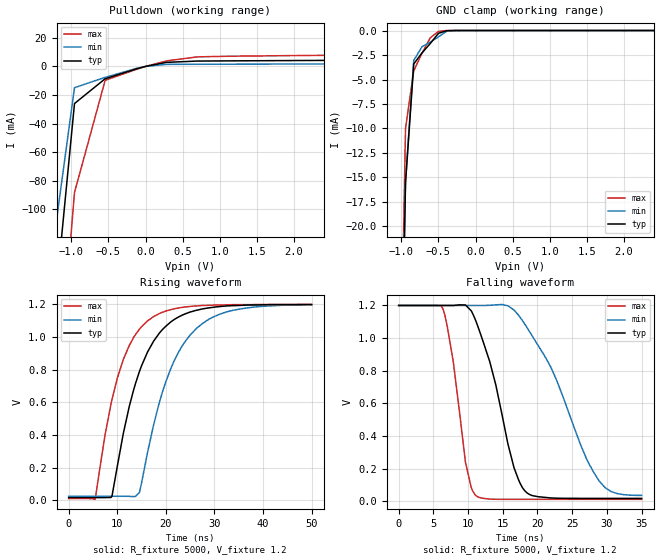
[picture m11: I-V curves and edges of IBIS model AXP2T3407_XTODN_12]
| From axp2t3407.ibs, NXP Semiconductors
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|   Model AXP2T3407_XTODN_12
[Model]   AXP2T3407_XTODN_12
Model_type   Open_drain
Polarity   Non-Inverting
Vmeas =  0.6V
Cref  =  5e-12
Rref  =  10e+3
Vref  =  1.2V
C_comp   1.9120pF   1.7230pF   2.0800pF
[Model Spec]
| Note: The input and output voltage ratings may be exceeded if the input and
|   output current ratings are observed (please refer to the data sheet)
|   Subparameter   typ   min   max
| Timing Thresholds
Vmeas   0.6   0.6   0.6
|Ambient temperature:   25   85   -40
[Temperature Range]   30   90   -35
[Voltage Range]   1.2   1.2   1.2
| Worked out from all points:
|   slope of the pulldown table from 0 to 0.18 V, typ, clamps not added: 98.9 ohm
|   GND clamp passes 1 mA (typ) near -0.58 V on its own axis
|   rising waveform, R_fixture 5000, V_fixture 1.2: 20-80 % time 6.97ns typ, 7.74ns min, 6.02ns max; typ from 0.018 V to 1.2 V
|   falling waveform, R_fixture 5000, V_fixture 1.2: 20-80 % time 4.04ns typ, 7.07ns min, 2.16ns max; typ from 1.2 V to 0.018 V
|Process Range   nominal   slow   fast
[GND_clamp]
|   voltage   I(typ)   I(min)   I(max)
-5.5V     -2.957A    -2.756A    -3.17A
-1.056V   -61.76mA   -55.78mA   -55.53mA
-944.4mV  -15.58mA   -15.38mA   -10.03mA
-833.3mV  -3.412mA   -3.047mA   -4.112mA
-722.2mV  -2.287mA   -1.662mA   -2.321mA
-611.1mV  -1.33mA    -1.186mA   -742.4uA
-500mV    -281.9uA   -644uA     -90.52uA
-388.9mV  -19.05uA   -70.75uA   -2.215uA
-277.8mV  -361.8nA   -2.29uA    -18.1nA
11V       0A         0A         0A
[Pulldown]
|   voltage   I(typ)   I(min)   I(max)
-5.5V     -2.957A    -2.718A    -3.249A
-1.371V   -248mA     -173mA     -350mA
-958mV    -26mA      -14.9mA    -88.3mA
-545mV    -8.64mA    -7.67mA    -9.76mA
0V        -4.99pA    -19.5pA    -512pA
281mV     2.84mA     1.42mA     3.85mA
694mV     3.74mA     1.5mA      6.67mA
4.823V    4.94mA     2.15mA     8.95mA
6.887V    6.79mA     3.22mA     11.6mA
8.539V    9.76mA     4.93mA     16mA
9.778V    12.8mA     6.71mA     20.6mA
11V       16.5mA     8.85mA     26.1mA
[Ramp]
| variable   typ   min   max
dV/dt_r  7.1390E-01/7.0410E-09  7.0830E-01/7.8550E-09  7.1940E-01/6.1100E-09
dV/dt_f  7.1390E-01/1.2380E-09  7.0830E-01/2.4580E-09  7.1940E-01/6.2950E-10
R_load = 5000
[Rising Waveform]
R_fixture   = 5000
V_fixture   = 1.2
V_fixture_min = 1.2
V_fixture_max = 1.2
| time   V(typ)   V(min)   V(max)
0s        17.79mV    25.84mV    11.86mV
5.48ns    17.78mV    25.84mV    9.981mV
8.92ns    27.19mV    25.85mV    618.9mV
11.24ns   409.5mV    25.84mV    863.1mV
14.56ns   789.4mV    49.22mV    1.049V
16.24ns   909.5mV    294.8mV    1.1V
20.96ns   1.092V     803.3mV    1.168V
26.24ns   1.164V     1.052V     1.191V
33.76ns   1.193V     1.164V     1.199V
50ns      1.2V       1.198V     1.2V
[Falling Waveform]
R_fixture   = 5000
V_fixture   = 1.2
V_fixture_min = 1.2
V_fixture_max = 1.2
| time   V(typ)   V(min)   V(max)
0s        1.2V       1.2V       1.2V
6.38ns    1.2V       1.2V       1.179V
7.86ns    1.2V       1.2V       857.6mV
9.62ns    1.203V     1.2V       239.6mV
11.2ns    1.096V     1.2V       32.28mV
14ns      712mV      1.204V     11.89mV
16.62ns   205.3mV    1.172V     11.59mV
18.18ns   63.81mV    1.085V     11.58mV
28.88ns   17.5mV     124.3mV    11.58mV
35ns      17.5mV     35.7mV     11.58mV
